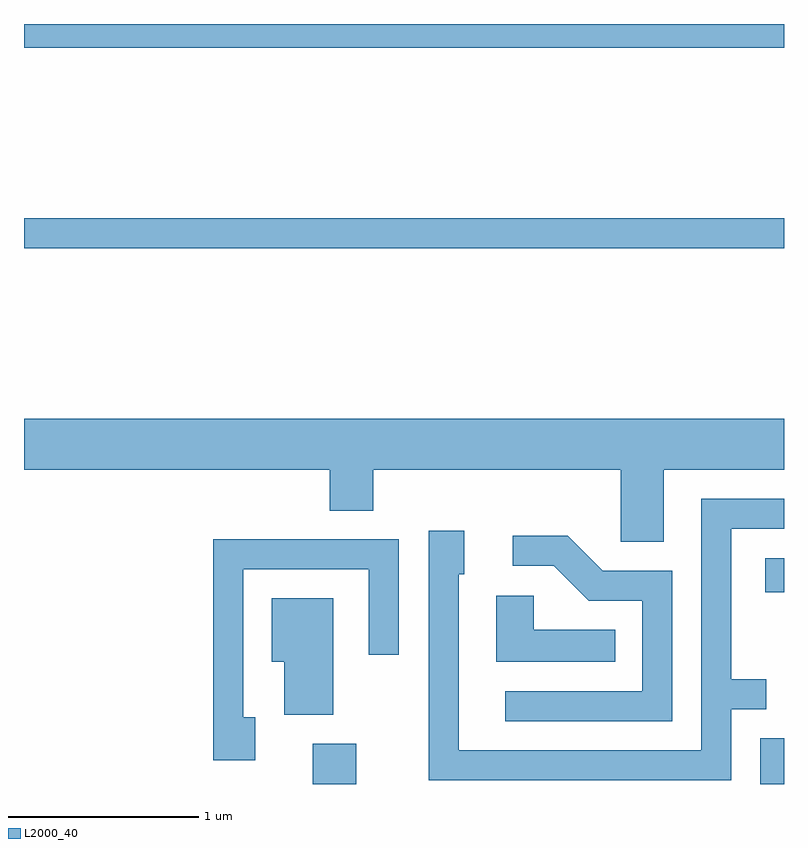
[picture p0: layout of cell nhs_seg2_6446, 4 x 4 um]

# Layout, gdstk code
import gdstk
lib = gdstk.Library(unit=1e-6, precision=1e-09)
def R(c, l, rs):  # rectangles x0, y0, x1, y1
    for r in rs: c.add(gdstk.rectangle(r[:2], r[2:], *l))
def P(c, l, *ps):  # polygons
    for p in ps: c.add(gdstk.Polygon(p, *l))
L2000_40 = (2000, 40)

nhs_seg2_6446 = lib.new_cell('nhs_seg2_6446')
R(nhs_seg2_6446, L2000_40, [(377.131,1017.802,377.359,1018.014), (379.486,1017.802,379.611,1018.044), (379.511,1018.811,379.611,1018.989), (375.611,1020.621,379.611,1020.779), (375.611,1021.676,379.611,1021.802)])
P(nhs_seg2_6446, L2000_40, [(378.979,1019.456),(379.611,1019.456),(379.611,1019.724),(375.611,1019.724),(375.611,1019.456),(377.221,1019.456),(377.221,1019.241),(377.449,1019.241),(377.449,1019.456),(378.751,1019.456),(378.751,1019.076),(378.979,1019.076)],
  [(379.334,1018.196),(379.518,1018.196),(379.518,1018.354),(379.334,1018.354),(379.334,1019.146),(379.611,1019.146),(379.611,1019.304),(379.176,1019.304),(379.176,1017.979),(377.899,1017.979),(377.899,1018.906),(377.929,1018.906),(377.929,1019.134),(377.741,1019.134),(377.741,1017.821),(379.334,1017.821)],
  [(379.024,1018.924),(378.657,1018.924),(378.472,1019.109),(378.183,1019.109),(378.183,1018.951),(378.399,1018.951),(378.584,1018.766),(378.866,1018.766),(378.866,1018.289),(378.143,1018.289),(378.143,1018.131),(379.024,1018.131)],
  [(376.829,1018.154),(376.764,1018.154),(376.764,1018.931),(377.426,1018.931),(377.426,1018.483),(377.584,1018.483),(377.584,1019.089),(376.606,1019.089),(376.606,1017.926),(376.829,1017.926)],
  [(378.723,1018.614),(378.294,1018.614),(378.294,1018.794),(378.096,1018.794),(378.096,1018.446),(378.723,1018.446)],
  [(377.239,1018.779),(376.916,1018.779),(376.916,1018.446),(376.981,1018.446),(376.981,1018.166),(377.239,1018.166)])

lib.write_gds('nhs_seg2_6446.gds')
